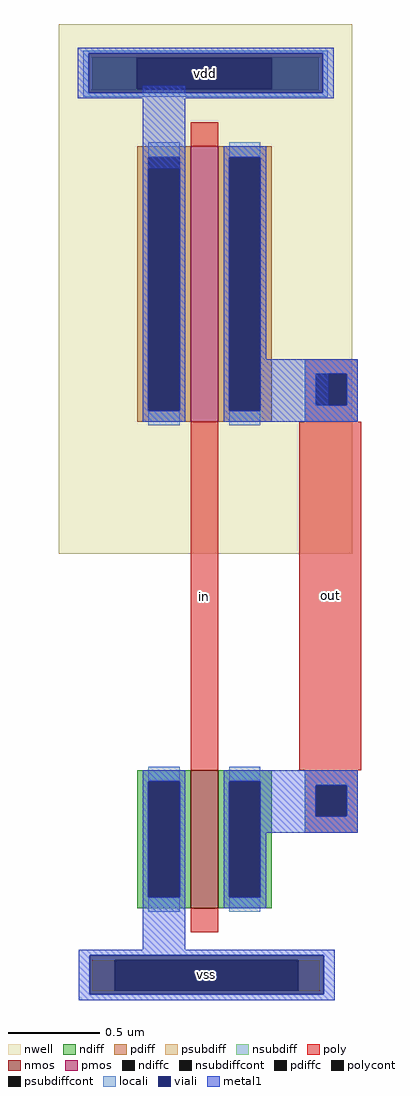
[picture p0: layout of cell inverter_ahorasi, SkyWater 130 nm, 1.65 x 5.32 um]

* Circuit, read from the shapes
.subckt inverter_ahorasi in out vdd vss
XM1 out in vss vss sky130_fd_pr__nfet_01v8 w=0.75 l=0.15
XM2 out in vdd vdd sky130_fd_pr__pfet_01v8 w=1.5 l=0.15
.ends

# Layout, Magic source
magic
tech sky130A
magscale 1 2
<< poly >>
rect 144 269 174 610
rect 262 250 330 630
<< metal1 >>
rect 92 906 138 996
rect 226 630 294 698
rect 226 182 268 250
rect 92 54 138 100
use grid  grid_0
transform 1 0 61 0 1 10
box -61 -10 259 1053
use sky130_fd_pr__nfet_01v8_NDWVGB  sky130_fd_pr__nfet_01v8_NDWVGB_0
transform 1 0 159 0 1 175
box -73 -101 73 101
use sky130_fd_pr__pfet_01v8_52K3FE  sky130_fd_pr__pfet_01v8_52K3FE_0
transform 1 0 159 0 1 780
box -109 -212 109 212
use via_m1_p  via_m1_p_0
transform 1 0 262 0 1 182
box 0 0 68 68
use via_m1_p  via_m1_p_1
transform 1 0 262 0 1 630
box 0 0 68 68
<< labels >>
rlabel metal1 33 988 288 1031 1 vdd
rlabel metal1 34 6 289 49 1 vss
rlabel poly 144 250 174 630 1 in
rlabel poly 262 234 330 648 1 out
<< end >>

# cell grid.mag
magic
tech sky130A
magscale 1 2
<< nwell >>
rect -61 476 259 1053
<< psubdiff >>
rect -24 0 0 34
rect 200 0 224 34
<< nsubdiff >>
rect -25 1016 223 1017
rect -25 982 24 1016
rect 171 982 223 1016
rect -25 981 223 982
<< psubdiffcont >>
rect 0 0 200 34
<< nsubdiffcont >>
rect 24 982 171 1016
<< locali >>
rect -34 1021 232 1024
rect -34 978 -28 1021
rect 227 978 232 1021
rect -34 974 232 978
<< viali >>
rect -28 1016 227 1021
rect -28 982 24 1016
rect 24 982 171 1016
rect 171 982 227 1016
rect -28 978 227 982
rect -27 34 228 39
rect -27 0 0 34
rect 0 0 200 34
rect 200 0 228 34
rect -27 -4 228 0
<< metal1 >>
rect -40 1021 239 1027
rect -40 978 -28 1021
rect 227 978 239 1021
rect -40 972 239 978
rect -39 39 240 45
rect -39 -4 -27 39
rect 228 -4 240 39
rect -39 -10 240 -4
<< end >>

# cell sky130_fd_pr__nfet_01v8_NDWVGB: kit device sky130_fd_pr__nfet_01v8, w 0.75 l 0.150 m 1 nf 1 diffcov 100 polycov 100 guard 0 glc 0 grc 0 gtc 0 gbc 0 tbcov 100 rlcov 100 topc 0 botc 0 poverlap 0 doverlap 1 lmin 0.15 wmin 0.42 compatible {sky130_fd_pr__nfet_01v8 sky130_fd_pr__nfet_01v8_lvt sky130_fd_bs_flash__special_sonosfet_star sky130_fd_pr__nfet_g5v0d10v5 sky130_fd_pr__nfet_05v0_nvt sky130_fd_pr__nfet_03v3_nvt} full_metal 0 viasrc 100 viadrn 100 viagate 100 viagb 0 viagr 0 viagl 0 viagt 0

# cell sky130_fd_pr__pfet_01v8_52K3FE: kit device sky130_fd_pr__pfet_01v8, w 1.5 l 0.15 m 1 nf 1 diffcov 100 polycov 100 guard 0 glc 0 grc 0 gtc 0 gbc 0 tbcov 100 rlcov 100 topc 0 botc 0 poverlap 0 doverlap 1 lmin 0.15 wmin 0.42 compatible {sky130_fd_pr__pfet_01v8 sky130_fd_pr__pfet_01v8_lvt sky130_fd_pr__pfet_01v8_hvt sky130_fd_pr__pfet_g5v0d10v5} full_metal 0 viasrc 100 viadrn 100 viagate 100 viagb 0 viagr 0 viagl 0 viagt 0

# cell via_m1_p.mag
magic
tech sky130A
<< poly >>
rect 3 26 32 34
rect 3 9 9 26
rect 26 9 32 26
rect 3 0 32 9
<< polycont >>
rect 9 9 26 26
<< locali >>
rect 3 26 32 34
rect 3 9 9 26
rect 26 9 32 26
rect 3 0 32 9
<< viali >>
rect 9 9 26 26
<< metal1 >>
rect 3 26 32 34
rect 3 9 9 26
rect 26 9 32 26
rect 3 0 32 9
<< end >>
